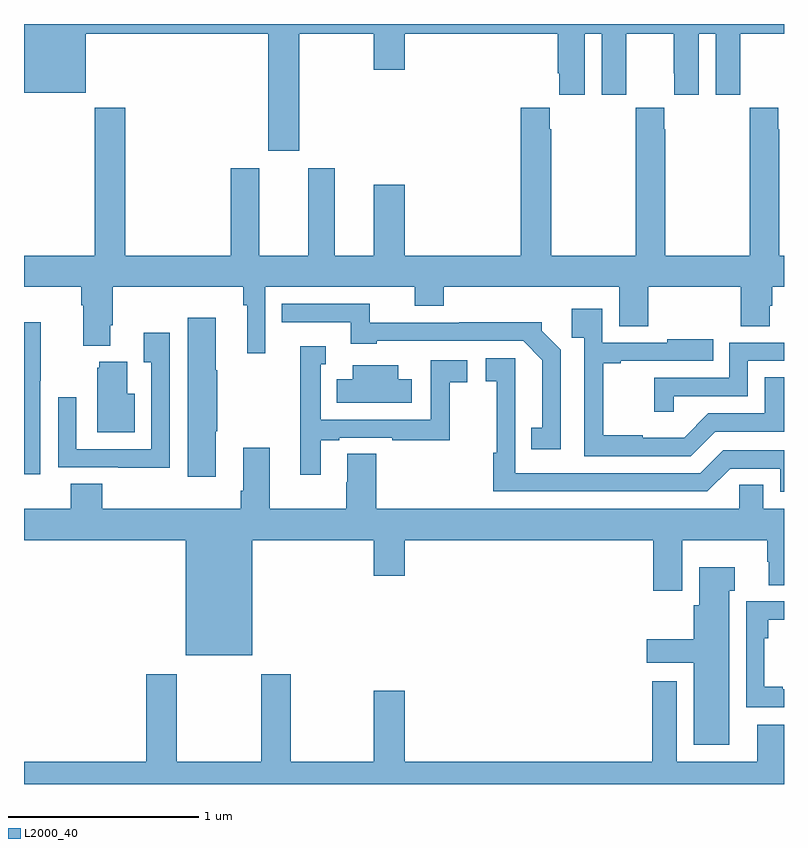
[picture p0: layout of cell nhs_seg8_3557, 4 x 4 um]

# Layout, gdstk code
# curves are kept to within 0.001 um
import gdstk
lib = gdstk.Library(unit=1e-6, precision=1e-09)
def P(c, l, *ps):  # polygons
    for p in ps: c.add(gdstk.Polygon(p, *l))
L2000_40 = (2000, 40)

nhs_seg8_3557 = lib.new_cell('nhs_seg8_3557')
P(nhs_seg8_3557, L2000_40, [(332.449,1101.848),(332.84,1101.848),(332.84,1101.66),(333.004,1101.66),(333.004,1101.848),(333.809,1101.848),(333.809,1101.64),(333.818,1101.64),(333.818,1101.528),(333.952,1101.528),(333.952,1101.848),(334.04,1101.848),(334.04,1101.528),(334.17,1101.528),(334.17,1101.64),(334.171,1101.64),(334.171,1101.848),(334.421,1101.848),(334.421,1101.64),(334.422,1101.64),(334.422,1101.528),(334.552,1101.528),(334.552,1101.848),(334.64,1101.848),(334.64,1101.528),(334.77,1101.528),(334.77,1101.64),(334.771,1101.64),(334.771,1101.848),(335,1101.848),(335,1101.9),(331,1101.9),(331,1101.539),(331.324,1101.539),(331.324,1101.848),(332.285,1101.848),(332.285,1101.234),(332.449,1101.234)],
  [(332.271,1100.516),(333.056,1100.516),(333.056,1100.417),(333.209,1100.417),(333.209,1100.516),(334.133,1100.516),(334.133,1100.308),(334.286,1100.308),(334.286,1100.516),(334.772,1100.516),(334.772,1100.308),(334.924,1100.308),(334.924,1100.418),(334.937,1100.418),(334.937,1100.516),(335,1100.516),(335,1100.68),(334.974,1100.68),(334.974,1101.347),(334.971,1101.347),(334.971,1101.46),(334.821,1101.46),(334.821,1101.347),(334.819,1101.347),(334.819,1100.68),(334.374,1100.68),(334.374,1101.347),(334.371,1101.347),(334.371,1101.46),(334.221,1101.46),(334.221,1101.347),(334.219,1101.347),(334.219,1100.68),(333.774,1100.68),(333.774,1101.347),(333.767,1101.347),(333.767,1101.46),(333.614,1101.46),(333.614,1100.68),(333.004,1100.68),(333.004,1101.055),(332.84,1101.055),(332.84,1100.68),(332.635,1100.68),(332.635,1101.142),(332.495,1101.142),(332.495,1100.68),(332.239,1100.68),(332.239,1101.142),(332.087,1101.142),(332.087,1100.68),(331.532,1100.68),(331.532,1101.46),(331.372,1101.46),(331.372,1100.68),(331,1100.68),(331,1100.516),(331.301,1100.516),(331.301,1100.42),(331.313,1100.42),(331.313,1100.207),(331.453,1100.207),(331.453,1100.314),(331.466,1100.314),(331.466,1100.516),(332.155,1100.516),(332.155,1100.42),(332.174,1100.42),(332.174,1100.166),(332.271,1100.166)],
  [(333.825,1100.186),(333.726,1100.285),(333.726,1100.33),(333.292,1100.33),(333.292,1100.328),(332.82,1100.328),(332.82,1100.427),(332.356,1100.427),(332.356,1100.331),(332.72,1100.331),(332.72,1100.216),(332.856,1100.216),(332.856,1100.232),(333.627,1100.232),(333.728,1100.131),(333.728,1099.775),(333.67,1099.775),(333.67,1099.662),(333.825,1099.662)],
  [(334.638,1099.755),(335,1099.755),(335,1100.042),(334.898,1100.042),(334.898,1099.851),(334.602,1099.851),(334.474,1099.723),(334.256,1099.723),(334.256,1099.735),(334.049,1099.735),(334.049,1100.115),(334.141,1100.115),(334.141,1100.127),(334.628,1100.127),(334.628,1100.242),(334.385,1100.242),(334.385,1100.223),(334.044,1100.223),(334.044,1100.401),(333.883,1100.401),(333.883,1100.249),(333.948,1100.249),(333.948,1099.626),(334.509,1099.626)],
  [(332.008,1099.756),(332.016,1099.756),(332.016,1100.078),(332.008,1100.078),(332.008,1100.353),(331.862,1100.353),(331.862,1099.518),(332.008,1099.518)],
  [(331.086,1100.023),(331.089,1100.023),(331.089,1100.33),(331,1100.33),(331,1099.53),(331.086,1099.53)],
  [(331.767,1100.275),(331.631,1100.275),(331.631,1100.119),(331.671,1100.119),(331.671,1099.662),(331.275,1099.662),(331.275,1099.936),(331.179,1099.936),(331.179,1099.566),(331.495,1099.566),(331.495,1099.565),(331.767,1099.565)],
  [(334.419,1099.941),(334.809,1099.941),(334.809,1100.127),(335,1100.127),(335,1100.223),(334.713,1100.223),(334.713,1100.037),(334.318,1100.037),(334.318,1099.86),(334.419,1099.86)],
  [(332.563,1099.71),(332.659,1099.71),(332.659,1099.722),(332.938,1099.722),(332.938,1099.71),(333.24,1099.71),(333.24,1100.014),(333.334,1100.014),(333.334,1100.13),(333.141,1100.13),(333.141,1099.818),(332.562,1099.818),(332.562,1100.109),(332.587,1100.109),(332.587,1100.203),(332.454,1100.203),(332.454,1099.771),(332.453,1099.771),(332.453,1099.527),(332.563,1099.527)],
  [(335,1099.656),(334.68,1099.656),(334.56,1099.536),(333.585,1099.536),(333.586,1100.14),(333.429,1100.14),(333.429,1100.019),(333.487,1100.019),(333.487,1099.643),(333.469,1099.643),(333.469,1099.44),(334.596,1099.44),(334.716,1099.56),(334.98,1099.56),(334.98,1099.437),(335,1099.437)],
  [(331.582,1099.954),(331.543,1099.954),(331.543,1100.122),(331.397,1100.122),(331.397,1100.091),(331.385,1100.091),(331.385,1099.751),(331.582,1099.751)],
  [(333.04,1100.029),(332.971,1100.029),(332.971,1100.104),(332.729,1100.104),(332.729,1100.029),(332.647,1100.029),(332.647,1099.907),(333.04,1099.907)],
  [(332.2,1099.184),(332.84,1099.184),(332.84,1098.996),(333.004,1098.996),(333.004,1099.184),(334.313,1099.184),(334.313,1098.918),(334.465,1098.918),(334.465,1099.184),(334.912,1099.184),(334.912,1099.071),(334.919,1099.071),(334.919,1098.946),(335,1098.946),(335,1099.348),(334.891,1099.348),(334.891,1099.475),(334.764,1099.475),(334.764,1099.348),(332.855,1099.348),(332.855,1099.637),(332.702,1099.637),(332.702,1099.487),(332.695,1099.487),(332.695,1099.348),(332.293,1099.348),(332.293,1099.669),(332.153,1099.669),(332.153,1099.444),(332.141,1099.444),(332.141,1099.348),(331.412,1099.348),(331.412,1099.481),(331.247,1099.481),(331.247,1099.348),(331,1099.348),(331,1099.184),(331.85,1099.184),(331.85,1098.578),(332.2,1098.578)],
  [(334.711,1098.917),(334.741,1098.917),(334.741,1099.042),(334.553,1099.042),(334.553,1098.84),(334.526,1098.84),(334.526,1098.661),(334.278,1098.661),(334.278,1098.539),(334.526,1098.539),(334.526,1098.107),(334.711,1098.107)],
  [(335,1098.399),(334.993,1098.399),(334.993,1098.412),(334.896,1098.412),(334.896,1098.668),(334.916,1098.668),(334.916,1098.764),(335,1098.764),(335,1098.861),(334.8,1098.861),(334.8,1098.303),(335,1098.303)],
  [(335,1098.211),(334.859,1098.211),(334.859,1098.016),(334.435,1098.016),(334.435,1098.442),(334.307,1098.442),(334.307,1098.016),(333.004,1098.016),(333.004,1098.391),(332.84,1098.391),(332.84,1098.016),(332.403,1098.016),(332.403,1098.478),(332.248,1098.478),(332.248,1098.016),(331.803,1098.016),(331.803,1098.478),(331.643,1098.478),(331.643,1098.016),(331,1098.016),(331,1097.9),(335,1097.9)])

lib.write_gds('nhs_seg8_3557.gds')
